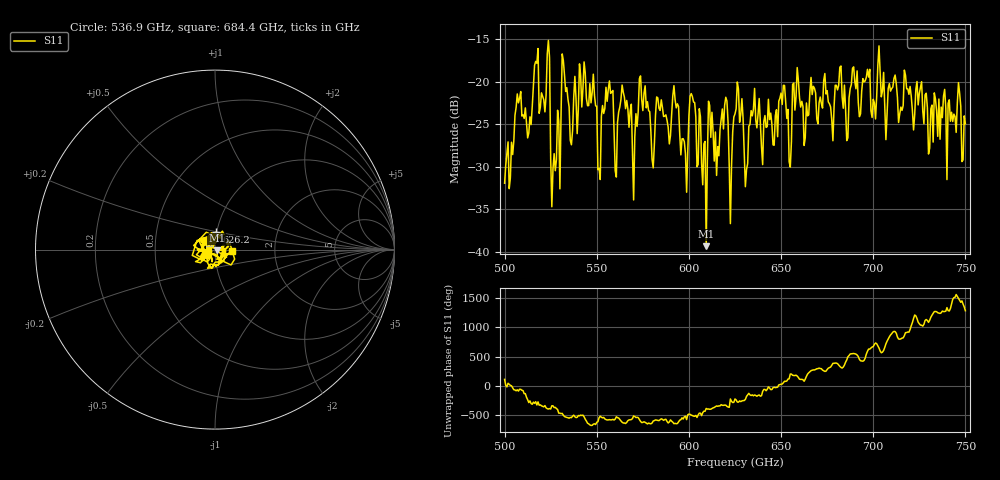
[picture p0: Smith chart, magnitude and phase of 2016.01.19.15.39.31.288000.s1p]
!Created with skrf (http://scikit-rf.org).
# GHz S RI R 50.0
!freq ReS11 ImS11
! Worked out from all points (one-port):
!   401 points, 500 GHz to 750 GHz, reference 50 ohm
!   lowest |S11| = -39.3 dB at 609.4 GHz (marker M1), VSWR 1.02, Z = 51 - j0.441 ohm
!   |S11| at or under -10 dB: start of sweep to end of sweep
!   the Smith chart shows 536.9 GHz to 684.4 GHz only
!   S11 on the Smith chart (normalised r, x): 536.9 GHz: 0.91, -0.04; 626.2 GHz: 1.00, +0.20; 684.4 GHz: 1.21, -0.01
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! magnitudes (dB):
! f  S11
! 500 GHz  -31.9
! 507.5 GHz  -22.5
! 513.8 GHz  -24.1
! 516.9 GHz  -17.6
! 523.1 GHz  -16.8
! 526.2 GHz  -30.2
! 531.2 GHz  -16.7
! 536.9 GHz  -25.7
! 547.5 GHz  -21.3
! 551.9 GHz  -31.5
! 556.2 GHz  -20.9
! 562.5 GHz  -23.0
! 570.6 GHz  -26.5
! 574.4 GHz  -22.1
! 580.6 GHz  -30.1
! 593.8 GHz  -22.6
! 609.4 GHz  -39.3
! 619.4 GHz  -22.8
! 623.1 GHz  -29.8
! 625 GHz  -23.8
! 626.2 GHz  -20.0
! 631.2 GHz  -30.3
! 634.4 GHz  -24.0
! 656.2 GHz  -20.3
! 684.4 GHz  -20.4
! 687.5 GHz  -20.8
! 718.8 GHz  -20.8
! 750 GHz  -25.0
